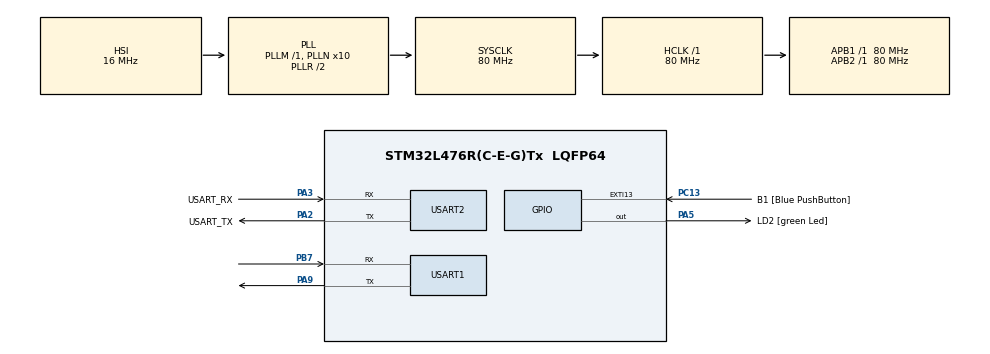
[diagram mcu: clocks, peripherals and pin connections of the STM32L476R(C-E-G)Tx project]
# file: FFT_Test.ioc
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Dma.Request0=USART2_RX
Dma.USART2_RX.0.Direction=DMA_PERIPH_TO_MEMORY
Dma.USART2_RX.0.Instance=DMA1_Channel6
Dma.USART2_RX.0.MemDataAlignment=DMA_MDATAALIGN_BYTE
Dma.USART2_RX.0.MemInc=DMA_MINC_ENABLE
Dma.USART2_RX.0.Mode=DMA_CIRCULAR
Dma.USART2_RX.0.PeriphDataAlignment=DMA_PDATAALIGN_BYTE
Dma.USART2_RX.0.PeriphInc=DMA_PINC_DISABLE
Dma.USART2_RX.0.Priority=DMA_PRIORITY_LOW
Mcu.Family=STM32L4
Mcu.Name=STM32L476R(C-E-G)Tx
Mcu.Package=LQFP64
NVIC.DMA1_Channel6_IRQn=true\:0\:0\:false\:false\:true\:false\:true
NVIC.PriorityGroup=NVIC_PRIORITYGROUP_4
NVIC.USART2_IRQn=true\:0\:0\:false\:false\:true\:true\:true
PA13\ (JTMS-SWDIO).GPIO_Label=TMS
PA13\ (JTMS-SWDIO).Mode=Serial_Wire
PA13\ (JTMS-SWDIO).Signal=SYS_JTMS-SWDIO
PA14\ (JTCK-SWCLK).GPIO_Label=TCK
PA14\ (JTCK-SWCLK).Mode=Serial_Wire
PA14\ (JTCK-SWCLK).Signal=SYS_JTCK-SWCLK
PA2.GPIO_Label=USART_TX
PA2.GPIO_Mode=GPIO_MODE_AF_PP
PA2.GPIO_PuPd=GPIO_NOPULL
PA2.GPIO_Speed=GPIO_SPEED_FREQ_VERY_HIGH
PA2.Mode=Asynchronous
PA2.Signal=USART2_TX
PA3.GPIO_Label=USART_RX
PA3.GPIO_Mode=GPIO_MODE_AF_PP
PA3.GPIO_PuPd=GPIO_NOPULL
PA3.GPIO_Speed=GPIO_SPEED_FREQ_VERY_HIGH
PA3.Mode=Asynchronous
PA3.Signal=USART2_RX
PA5.GPIO_Label=LD2 [green Led]
PA5.GPIO_ModeDefaultOutputPP=GPIO_MODE_OUTPUT_PP
PA5.GPIO_PuPd=GPIO_NOPULL
PA5.GPIO_Speed=GPIO_SPEED_FREQ_LOW
PA5.Signal=GPIO_Output
PA9.Mode=Asynchronous
PA9.Signal=USART1_TX
PB3\ (JTDO-TRACESWO).GPIO_Label=SWO
PB3\ (JTDO-TRACESWO).Signal=SYS_JTDO-SWO
PB7.Mode=Asynchronous
PB7.Signal=USART1_RX
PC13.GPIO_Label=B1 [Blue PushButton]
PC13.GPIO_ModeDefaultEXTI=GPIO_MODE_IT_FALLING
PC13.GPIO_PuPd=GPIO_NOPULL
PC13.Signal=GPXTI13
PC14-OSC32_IN\ (PC14).Mode=LSE-External-Oscillator
PC14-OSC32_IN\ (PC14).Signal=RCC_OSC32_IN
PC15-OSC32_OUT\ (PC15).Mode=LSE-External-Oscillator
PC15-OSC32_OUT\ (PC15).Signal=RCC_OSC32_OUT
PH0-OSC_IN\ (PH0).Signal=RCC_OSC_IN
PH1-OSC_OUT\ (PH1).Signal=RCC_OSC_OUT
ProjectManager.HeapSize=0x200
ProjectManager.StackSize=0x400
ProjectManager.TargetToolchain=TrueSTUDIO
RCC.ADCFreq_Value=64000000
RCC.AHBFreq_Value=80000000
RCC.APB1Freq_Value=80000000
RCC.APB1TimFreq_Value=80000000
RCC.APB2Freq_Value=80000000
RCC.APB2TimFreq_Value=80000000
RCC.CortexFreq_Value=80000000
RCC.HCLKFreq_Value=80000000
RCC.HSE_VALUE=8000000
RCC.HSI_VALUE=16000000
RCC.MSI_VALUE=4000000
RCC.PLLN=10
RCC.PLLSourceVirtual=RCC_PLLSOURCE_HSI
RCC.PREFETCH_ENABLE=1
RCC.SYSCLKFreq_VALUE=80000000
RCC.SYSCLKSource=RCC_SYSCLKSOURCE_PLLCLK
RCC.USBFreq_Value=64000000
RCC.VCOOutputFreq_Value=160000000
USART1.VirtualMode-Asynchronous=VM_ASYNC
USART2.VirtualMode-Asynchronous=VM_ASYNC
board=NUCLEO-L476RG

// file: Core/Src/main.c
/* USER CODE BEGIN Header */
/**
  ******************************************************************************
  * @file           : main.c
  * @brief          : Main program body
  ******************************************************************************
  * @attention
  *
  * <h2><center>&copy; Copyright (c) 2021 STMicroelectronics.
  * All rights reserved.</center></h2>
  *
  * This software component is licensed by ST under BSD 3-Clause license,
  * the "License"; You may not use this file except in compliance with the
  * License. You may obtain a copy of the License at:
  *                        opensource.org/licenses/BSD-3-Clause
  *
  ******************************************************************************
  */
/* USER CODE END Header */
#define ARM_MATH_CM4
#define __FPU_PRESENT   1
#include "main.h"
#include "arm_math.h"
#include "arm_const_structs.h"
#include "697hz.inc"
/* USER CODE BEGIN Includes */
#include <stdio.h>
#include <string.h>
/* USER CODE END Includes */

/* USER CODE BEGIN PD */
#define SAMPLES 512
#define FFT_SIZE SAMPLES/2

/* USER CODE END PD */

UART_HandleTypeDef huart1;
UART_HandleTypeDef huart2;
DMA_HandleTypeDef hdma_usart2_rx;
uint32_t i = 0, freq = 1;
float32_t sin_val;
float32_t sine_array[512];

void SystemClock_Config(void);
static void MX_GPIO_Init(void);
static void MX_DMA_Init(void);
static void MX_USART2_UART_Init(void);
static void MX_USART1_UART_Init(void);

/* USER CODE BEGIN PFP */
void fft_test(void);
/* USER CODE END PFP */

/* USER CODE BEGIN 0 */
uint8_t sendBuffer[13];
float32_t Input[SAMPLES];
float32_t Output[FFT_SIZE];

typedef struct {
	const char *desc;
	unsigned char *data;
} test_wave_t;

static const test_wave_t WAVES[] = {
		{ "697Hz", __697hz_raw },
};
/* USER CODE END 0 */

int main(void)
{

  /* MCU Configuration--------------------------------------------------------*/

  /* Reset of all peripherals, Initializes the Flash interface and the Systick. */
  HAL_Init();

  /* Configure the system clock */
  SystemClock_Config();

  /* Initialize all configured peripherals */
  MX_GPIO_Init();
  MX_DMA_Init();
  MX_USART2_UART_Init();
  MX_USART1_UART_Init();

  /* USER CODE BEGIN 2 */
  char buff1[30];
  sprintf(buff1,"FFT Test Started\r\n");
  HAL_UART_Transmit(&huart2,(uint8_t*)buff1,strlen(buff1),100);

  for (int i; i < FFT_SIZE; i++) {
  	  sine_array[i] += (float)0.5 * (float)sin((float)2 * (float)3.14159265359 * (float)1 * (float)freq * (float)i / (float)(FFT_SIZE / 2));
  	  }

  /* USER CODE END 2 */

  /* Infinite loop */
  while (1)
  {
	  //Flash LED to indicate program start
	    HAL_GPIO_TogglePin(GPIOA, GPIO_PIN_5);
	    HAL_Delay(1000);
	    HAL_GPIO_TogglePin(GPIOA, GPIO_PIN_5);
	    HAL_Delay(1000);
	    HAL_GPIO_TogglePin(GPIOA, GPIO_PIN_5);
  }
}

void SystemClock_Config(void)
{
  RCC_OscInitTypeDef RCC_OscInitStruct = {0};
  RCC_ClkInitTypeDef RCC_ClkInitStruct = {0};
  RCC_PeriphCLKInitTypeDef PeriphClkInit = {0};

  /** Initializes the RCC Oscillators according to the specified parameters
  * in the RCC_OscInitTypeDef structure.
  */
  RCC_OscInitStruct.OscillatorType = RCC_OSCILLATORTYPE_HSI;
  RCC_OscInitStruct.HSIState = RCC_HSI_ON;
  RCC_OscInitStruct.HSICalibrationValue = RCC_HSICALIBRATION_DEFAULT;
  RCC_OscInitStruct.PLL.PLLState = RCC_PLL_ON;
  RCC_OscInitStruct.PLL.PLLSource = RCC_PLLSOURCE_HSI;
  RCC_OscInitStruct.PLL.PLLM = 1;
  RCC_OscInitStruct.PLL.PLLN = 10;
  RCC_OscInitStruct.PLL.PLLP = RCC_PLLP_DIV7;
  RCC_OscInitStruct.PLL.PLLQ = RCC_PLLQ_DIV2;
  RCC_OscInitStruct.PLL.PLLR = RCC_PLLR_DIV2;
  if (HAL_RCC_OscConfig(&RCC_OscInitStruct) != HAL_OK)
  {
    Error_Handler();
  }
  /** Initializes the CPU, AHB and APB buses clocks
  */
  RCC_ClkInitStruct.ClockType = RCC_CLOCKTYPE_HCLK|RCC_CLOCKTYPE_SYSCLK
                              |RCC_CLOCKTYPE_PCLK1|RCC_CLOCKTYPE_PCLK2;
  RCC_ClkInitStruct.SYSCLKSource = RCC_SYSCLKSOURCE_PLLCLK;
  RCC_ClkInitStruct.AHBCLKDivider = RCC_SYSCLK_DIV1;
  RCC_ClkInitStruct.APB1CLKDivider = RCC_HCLK_DIV1;
  RCC_ClkInitStruct.APB2CLKDivider = RCC_HCLK_DIV1;

  if (HAL_RCC_ClockConfig(&RCC_ClkInitStruct, FLASH_LATENCY_4) != HAL_OK)
  {
    Error_Handler();
  }
  PeriphClkInit.PeriphClockSelection = RCC_PERIPHCLK_USART1|RCC_PERIPHCLK_USART2;
  PeriphClkInit.Usart1ClockSelection = RCC_USART1CLKSOURCE_PCLK2;
  PeriphClkInit.Usart2ClockSelection = RCC_USART2CLKSOURCE_PCLK1;
  if (HAL_RCCEx_PeriphCLKConfig(&PeriphClkInit) != HAL_OK)
  {
    Error_Handler();
  }
  /** Configure the main internal regulator output voltage
  */
  if (HAL_PWREx_ControlVoltageScaling(PWR_REGULATOR_VOLTAGE_SCALE1) != HAL_OK)
  {
    Error_Handler();
  }
}

static void MX_USART1_UART_Init(void)
{

  huart1.Instance = USART1;
  huart1.Init.BaudRate = 115200;
  huart1.Init.WordLength = UART_WORDLENGTH_8B;
  huart1.Init.StopBits = UART_STOPBITS_1;
  huart1.Init.Parity = UART_PARITY_NONE;
  huart1.Init.Mode = UART_MODE_TX_RX;
  huart1.Init.HwFlowCtl = UART_HWCONTROL_NONE;
  huart1.Init.OverSampling = UART_OVERSAMPLING_16;
  huart1.Init.OneBitSampling = UART_ONE_BIT_SAMPLE_DISABLE;
  huart1.AdvancedInit.AdvFeatureInit = UART_ADVFEATURE_NO_INIT;
  if (HAL_UART_Init(&huart1) != HAL_OK)
  {
    Error_Handler();
  }

}

static void MX_USART2_UART_Init(void)
{

  huart2.Instance = USART2;
  huart2.Init.BaudRate = 115200;
  huart2.Init.WordLength = UART_WORDLENGTH_8B;
  huart2.Init.StopBits = UART_STOPBITS_1;
  huart2.Init.Parity = UART_PARITY_NONE;
  huart2.Init.Mode = UART_MODE_TX_RX;
  huart2.Init.HwFlowCtl = UART_HWCONTROL_NONE;
  huart2.Init.OverSampling = UART_OVERSAMPLING_16;
  huart2.Init.OneBitSampling = UART_ONE_BIT_SAMPLE_DISABLE;
  huart2.AdvancedInit.AdvFeatureInit = UART_ADVFEATURE_NO_INIT;
  if (HAL_UART_Init(&huart2) != HAL_OK)
  {
    Error_Handler();
  }

}

static void MX_DMA_Init(void)
{

  /* DMA controller clock enable */
  __HAL_RCC_DMA1_CLK_ENABLE();

  /* DMA interrupt init */
  /* DMA1_Channel6_IRQn interrupt configuration */
  HAL_NVIC_SetPriority(DMA1_Channel6_IRQn, 0, 0);
  HAL_NVIC_EnableIRQ(DMA1_Channel6_IRQn);

}

static void MX_GPIO_Init(void)
{
  GPIO_InitTypeDef GPIO_InitStruct = {0};

  /* GPIO Ports Clock Enable */
  __HAL_RCC_GPIOC_CLK_ENABLE();
  __HAL_RCC_GPIOH_CLK_ENABLE();
  __HAL_RCC_GPIOA_CLK_ENABLE();
  __HAL_RCC_GPIOB_CLK_ENABLE();

  /*Configure GPIO pin Output Level */
  HAL_GPIO_WritePin(LD2_GPIO_Port, LD2_Pin, GPIO_PIN_RESET);

  /*Configure GPIO pin : B1_Pin */
  GPIO_InitStruct.Pin = B1_Pin;
  GPIO_InitStruct.Mode = GPIO_MODE_IT_FALLING;
  GPIO_InitStruct.Pull = GPIO_NOPULL;
  HAL_GPIO_Init(B1_GPIO_Port, &GPIO_InitStruct);

  /*Configure GPIO pin : LD2_Pin */
  GPIO_InitStruct.Pin = LD2_Pin;
  GPIO_InitStruct.Mode = GPIO_MODE_OUTPUT_PP;
  GPIO_InitStruct.Pull = GPIO_NOPULL;
  GPIO_InitStruct.Speed = GPIO_SPEED_FREQ_LOW;
  HAL_GPIO_Init(LD2_GPIO_Port, &GPIO_InitStruct);

}

/* USER CODE BEGIN 4 */
void HAL_UART_RxCpltCallback(UART_HandleTypeDef *huart)
{
  /* Prevent unused argument(s) compilation warning */
  UNUSED(huart);

  HAL_UART_Transmit(&huart2, sendBuffer, 13, 100);

  /* NOTE : This function should not be modified, when the callback is needed,
            the HAL_UART_RxCpltCallback can be implemented in the user file.
   */
}

void fft_test(void){
	static arm_cfft_radix4_instance_f32 fft_instance;
	static float32_t Output[FFT_SIZE*2]; //has to be twice FFT size
	float32_t* Input = sine_array;
    float32_t maxValue;                /* Max FFT value is stored here */
    uint32_t maxIndex;                /* Index in Output array where max value is */
	int init_status;

    /* Initialize the CFFT/CIFFT module, intFlag = 0, doBitReverse = 1 */
    init_status = arm_cfft_radix4_init_f32(&fft_instance, FFT_SIZE, 0, 1);
	char InitStatus[30];
	sprintf(InitStatus,"FFT Init %d\r\n", (int)init_status);
	HAL_UART_Transmit(&huart2,(uint8_t*)InitStatus,strlen(InitStatus),100);

    /* Process the data through the CFFT/CIFFT module */
    arm_cfft_radix4_f32(&fft_instance, Input);

    /* Process the data through the Complex Magnitude Module for calculating the magnitude at each bin */
    arm_cmplx_mag_f32(Input, Output, FFT_SIZE);

    /* Calculates maxValue and returns corresponding value */
    arm_max_f32(Output, FFT_SIZE, &maxValue, &maxIndex);

    for (uint32_t j = 0; j < FFT_SIZE; j++){
    	char FFTOut[30];
    	sprintf(FFTOut,"FFT Out %f \r\n", Output[j]);
    	HAL_UART_Transmit(&huart2, (uint8_t*)FFTOut, 30, 100);
    	}
}
/* USER CODE END 4 */

void Error_Handler(void)
{
}

/************************ (C) COPYRIGHT STMicroelectronics *****END OF FILE****/
